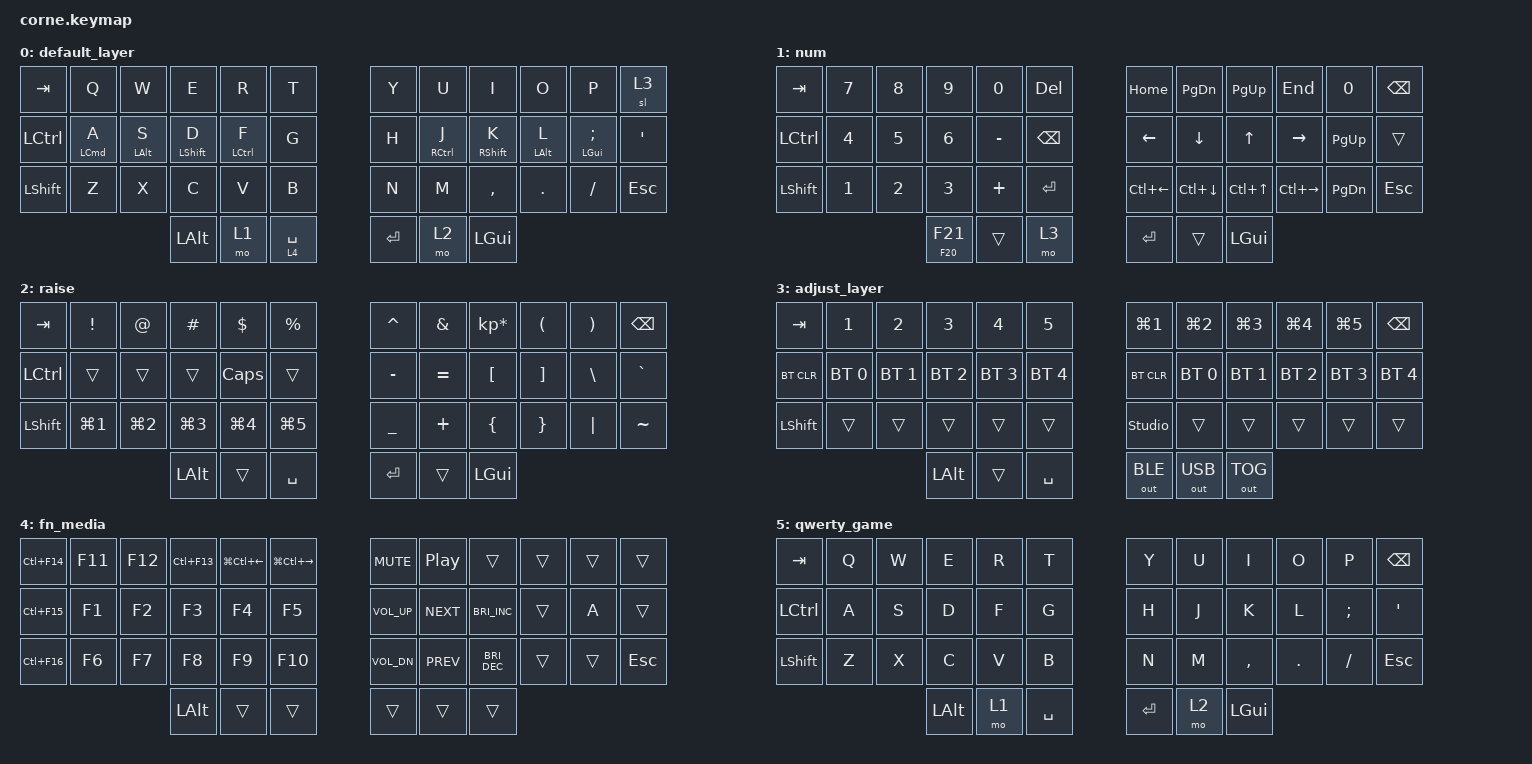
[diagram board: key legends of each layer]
/*
 * Copyright (c) 2020 The ZMK Contributors
 *
 * SPDX-License-Identifier: MIT
 */

#include <behaviors.dtsi>
#include <dt-bindings/zmk/bt.h>
#include <dt-bindings/zmk/keys.h>
#include <dt-bindings/zmk/outputs.h>

/ {
    combos {
        compatible = "zmk,combos";

        backspace {
            bindings = <&kp BACKSPACE>;
            key-positions = <7 8>;
        };

        delete {
            bindings = <&kp DELETE>;
            key-positions = <9 8>;
        };

        esc {
            bindings = <&kp ESCAPE>;
            key-positions = <3 2>;
        };

        qwe_game {
            bindings = <&tog 5>;
            key-positions = <37 40>;
        };

        base_layer {
            bindings = <&tog 0>;
            key-positions = <38 39>;
        };

        Cut {
            bindings = <&kp LC(X)>;
            key-positions = <26 28>;
        };

        Copy {
            bindings = <&kp LC(C)>;
            key-positions = <27 26>;
        };

        Paste {
            bindings = <&kp LC(V)>;
            key-positions = <27 28>;
        };

        Multipy {
            bindings = <&kp KP_MULTIPLY>;
            key-positions = <28 29>;
        };

        Divide {
            bindings = <&kp KP_DIVIDE>;
            key-positions = <16 17>;
        };

        CapsLook {
            bindings = <&kp CAPSLOCK>;
            key-positions = <4 5>;
        };
    };

    behaviors {
        hml: homewrow_mods_left {
            compatible = "zmk,behavior-hold-tap";
            label = "HOMEROW_MODS_LEFT_HAND";
            bindings = <&kp>, <&kp>;

            #binding-cells = <2>;
            tapping-term-ms = <300>;
            hold-trigger-key-positions = <39 40 41 30 31 32 33 6 7 8 9 10 18 19 20 21 22 30 31 32 33 34 11 23 35>;
        };

        hmr: homewrow_mods_righ {
            compatible = "zmk,behavior-hold-tap";
            label = "HOMEROW_MODS_RIGHT_HAND";
            bindings = <&kp>, <&kp>;

            #binding-cells = <2>;
            tapping-term-ms = <300>;
            hold-trigger-key-positions = <0 1 2 3 4 5 12 13 14 15 16 17 24 25 26 27 28 29 36 37 38>;
        };

        dot_comma: dot_comma {
            compatible = "zmk,behavior-tap-dance";
            label = "DOT_COMMA";
            #binding-cells = <0>;
            bindings = <&kp SLASH>, <&kp QUESTION>;
        };

        dot_comma_alt: dot_comma_alt {
            compatible = "zmk,behavior-hold-tap";
            label = "DOT_COMMA_ALT";
            bindings = <&comma_alt>, <&dot_alt>;

            #binding-cells = <2>;
            tapping-term-ms = <200>;
        };
    };

    macros {
        dot_alt: dot_alt {
            compatible = "zmk,behavior-macro";
            #binding-cells = <0>;
            bindings = <&kt LEFT_ALT &kp KP_NUMBER_0 &kp KP_NUMBER_0 &kp KP_NUMBER_4 &kp KP_NUMBER_6 &kt LALT>;
            label = "DOT_ALT";
        };

        comma_alt: comma_alt {
            compatible = "zmk,behavior-macro";
            #binding-cells = <0>;
            bindings = <&kt LEFT_ALT &kp KP_NUMBER_0 &kp KP_NUMBER_0 &kp KP_NUMBER_4 &kp KP_NUMBER_4 &kt LALT>;
            label = "COMMA_ALT";
        };
    };

    keymap {
        compatible = "zmk,keymap";

        default_layer {
            bindings = <
&kp TAB    &kp Q        &kp W        &kp E          &kp R         &kp T          &kp Y    &kp U         &kp I          &kp O        &kp P                    &sl 3
&kp LCTRL  &hml LCMD A  &hml LALT S  &hml LSHIFT D  &hml LCTRL F  &kp G          &kp H    &hmr RCTRL J  &hmr RSHIFT K  &hmr LALT L  &hmr LEFT_GUI SEMICOLON  &kp SQT
&kp LSHFT  &kp Z        &kp X        &kp C          &kp V         &kp B          &kp N    &kp M         &kp COMMA      &kp DOT      &kp FSLH                 &kp ESC
                                     &kp LALT       &mo 1         &lt 4 SPACE    &kp RET  &mo 2         &kp LGUI
            >;
        };

        num {
            bindings = <
&kp TAB    &kp N7  &kp N8  &kp N9       &kp N0     &kp DEL     &kp HOME      &kp PAGE_DOWN  &kp PAGE_UP  &kp END        &kp N0         &kp BSPC
&kp LCTRL  &kp N4  &kp N5  &kp N6       &kp MINUS  &kp BSPC    &kp LEFT      &kp DOWN       &kp UP       &kp RIGHT      &kp PAGE_UP    &trans
&kp LSHFT  &kp N1  &kp N2  &kp N3       &kp PLUS   &kp RET     &kp LC(LEFT)  &kp LC(DOWN)   &kp LC(UP)   &kp LC(RIGHT)  &kp PAGE_DOWN  &kp ESC
                           &mt F20 F21  &trans     &mo 3       &kp RET       &trans         &kp LGUI
            >;
        };

        raise {
            bindings = <
&kp TAB    &kp EXCL          &kp AT            &kp HASH          &kp DLLR          &kp PRCNT           &kp CARET  &kp AMPS   &kp KP_MULTIPLY  &kp LPAR  &kp RPAR  &kp BSPC
&kp LCTRL  &trans            &trans            &trans            &kp CAPSLOCK      &trans              &kp MINUS  &kp EQUAL  &kp LBKT         &kp RBKT  &kp BSLH  &kp GRAVE
&kp LSHFT  &kp LG(NUMBER_1)  &kp LG(NUMBER_2)  &kp LG(NUMBER_3)  &kp LG(NUMBER_4)  &kp LG(NUMBER_5)    &kp UNDER  &kp PLUS   &kp LBRC         &kp RBRC  &kp PIPE  &kp TILDE
                                               &kp LALT          &trans            &kp SPACE           &kp RET    &trans     &kp LGUI
            >;
        };

        adjust_layer {
            bindings = <
&kp TAB     &kp N1        &kp N2        &kp N3        &kp N4        &kp N5          &kp LG(NUMBER_1)  &kp LG(N2)    &kp LG(NUMBER_3)  &kp LG(NUMBER_4)  &kp LG(N5)    &kp BSPC
&bt BT_CLR  &bt BT_SEL 0  &bt BT_SEL 1  &bt BT_SEL 2  &bt BT_SEL 3  &bt BT_SEL 4    &bt BT_CLR        &bt BT_SEL 0  &bt BT_SEL 1      &bt BT_SEL 2      &bt BT_SEL 3  &bt BT_SEL 4
&kp LSHFT   &trans        &trans        &trans        &trans        &trans          &studio_unlock    &trans        &trans            &trans            &trans        &trans
                                        &kp LALT      &trans        &kp SPACE       &out OUT_BLE      &out OUT_USB  &out OUT_TOG
            >;
        };

        fn_media {
            bindings = <
&kp LC(F14)  &kp F11  &kp F12  &kp LC(F13)  &kp LG(LC(LEFT))  &kp LG(LC(RIGHT))    &kp C_MUTE    &kp C_PLAY_PAUSE  &trans                &trans  &trans  &trans
&kp LC(F15)  &kp F1   &kp F2   &kp F3       &kp F4            &kp F5               &kp C_VOL_UP  &kp C_NEXT        &kp C_BRIGHTNESS_INC  &trans  &kp A   &trans
&kp LC(F16)  &kp F6   &kp F7   &kp F8       &kp F9            &kp F10              &kp C_VOL_DN  &kp C_PREV        &kp C_BRIGHTNESS_DEC  &trans  &trans  &kp ESC
                               &kp LALT     &trans            &trans               &trans        &trans            &trans
            >;
        };

        qwerty_game {
            bindings = <
&kp TAB    &kp Q  &kp W  &kp E     &kp R  &kp T        &kp Y      &kp U  &kp I      &kp O    &kp P     &kp BSPC
&kp LCTRL  &kp A  &kp S  &kp D     &kp F  &kp G        &kp H      &kp J  &kp K      &kp L    &kp SEMI  &kp APOS
&kp LSHFT  &kp Z  &kp X  &kp C     &kp V  &kp B        &kp N      &kp M  &kp COMMA  &kp DOT  &kp FSLH  &kp ESC
                         &kp LALT  &mo 1  &kp SPACE    &kp ENTER  &mo 2  &kp LGUI
            >;
        };
    };
};
